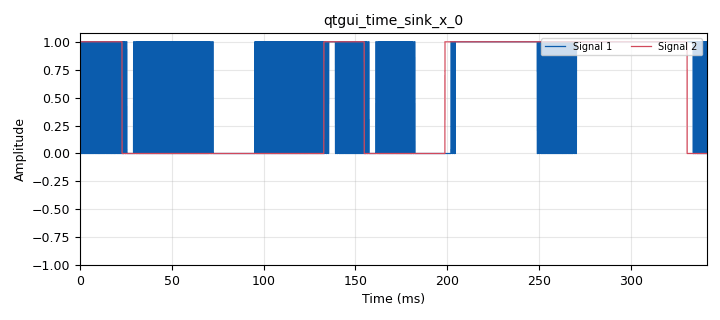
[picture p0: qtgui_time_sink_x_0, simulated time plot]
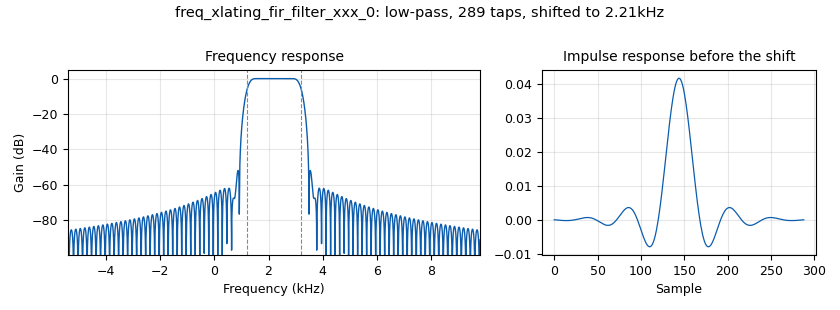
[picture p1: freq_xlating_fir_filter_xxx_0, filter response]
options:
  parameters:
    author: Barry Duggan
    description: FSK_example
    generate_options: qt_gui
    id: FSK_example
    output_language: python
    title: FSK_example
  states: {}

blocks:
- name: baud
  id: variable
  parameters:
    value: 1/0.022
  states: {}
- name: center
  id: variable
  parameters:
    value: '2210'
  states: {}
- name: delay
  id: variable_qtgui_range
  parameters:
    label: Delay
    start: '0'
    step: '1'
    stop: '250'
    value: '145'
  states: {}
- name: freq_offset
  id: variable_qtgui_range
  parameters:
    gui_hint: 3,1,1,1
    label: Freq_offset
    orient: QtCore.Qt.Vertical
    start: '-0.001'
    step: '0.00001'
    stop: '0.001'
    value: '0'
  states: {}
- name: fsk_deviation
  id: variable
  parameters:
    value: '170'
  states: {}
- name: inp_amp
  id: variable
  parameters:
    value: ((center+(fsk_deviation/2))/vco_max)-vco_offset
  states: {}
- name: noise
  id: variable_qtgui_range
  parameters:
    gui_hint: 3,0,1,1
    label: Noise
    start: '0'
    step: '0.005'
    stop: '1'
    value: '0'
  states: {}
- name: repeat
  id: variable
  parameters:
    value: (int)(samp_rate*0.022)
  states: {}
- name: samp_rate
  id: variable
  parameters:
    value: '48000'
  states: {}
- name: sps
  id: variable
  parameters:
    value: '11'
  states: {}
- name: sq_lvl
  id: variable_qtgui_range
  parameters:
    label: Squelch
    start: '-100'
    step: '5'
    stop: '10'
    value: '-50'
  states: {}
- name: vco_max
  id: variable
  parameters:
    value: '2500'
  states: {}
- name: vco_offset
  id: variable
  parameters:
    value: (center-(fsk_deviation/2))/vco_max
  states: {}
- name: analog_quadrature_demod_cf_1
  id: analog_quadrature_demod_cf
  parameters:
    gain: samp_rate/(2*math.pi*fsk_deviation)
  states: {}
- name: analog_random_source_x_0
  id: analog_random_source_x
  parameters:
    max: '256'
    min: '0'
    num_samps: '1024'
    repeat: 'True'
    type: byte
  states: {}
- name: analog_random_source_x_0_0
  id: analog_random_source_x
  parameters:
    max: '256'
    min: '0'
    num_samps: '1024'
    repeat: 'True'
    type: byte
  states: {}
- name: analog_simple_squelch_cc_0
  id: analog_simple_squelch_cc
  parameters:
    alpha: '1'
    threshold: sq_lvl
  states: {}
- name: blocks_add_const_vxx_0
  id: blocks_add_const_vxx
  parameters:
    comment: vco_offset
    const: vco_offset
    type: float
  states: {}
- name: blocks_add_const_vxx_0_0
  id: blocks_add_const_vxx
  parameters:
    comment: vco_offset
    const: vco_offset
    type: float
  states: {}
- name: blocks_add_xx_0
  id: blocks_add_xx
  parameters:
    type: complex
  states: {}
- name: blocks_complex_to_float_0
  id: blocks_complex_to_float
  parameters: {}
  states: {}
- name: blocks_delay_0
  id: blocks_delay
  parameters:
    delay: int(delay)
    type: complex
  states: {}
- name: blocks_float_to_complex_0
  id: blocks_float_to_complex
  parameters: {}
  states: {}
- name: blocks_float_to_complex_0_0
  id: blocks_float_to_complex
  parameters: {}
  states: {}
- name: blocks_max_xx_0
  id: blocks_max_xx
  parameters:
    num_inputs: '2'
    type: float
  states: {}
- name: blocks_multiply_const_vxx_0
  id: blocks_multiply_const_vxx
  parameters:
    comment: inp_amp
    const: inp_amp
    type: float
  states: {}
- name: blocks_multiply_const_vxx_0_0
  id: blocks_multiply_const_vxx
  parameters:
    comment: inp_amp
    const: inp_amp
    type: float
  states: {}
- name: blocks_null_source_0_0
  id: blocks_null_source
  parameters:
    type: float
  states: {}
- name: blocks_null_source_0_0_0
  id: blocks_null_source
  parameters:
    type: float
  states: {}
- name: blocks_repeat_0
  id: blocks_repeat
  parameters:
    interp: repeat
    type: byte
  states: {}
- name: blocks_repeat_0_0
  id: blocks_repeat
  parameters:
    interp: repeat
    type: byte
  states: {}
- name: blocks_uchar_to_float_0
  id: blocks_uchar_to_float
  parameters: {}
  states: {}
- name: blocks_uchar_to_float_0_0
  id: blocks_uchar_to_float
  parameters: {}
  states: {}
- name: blocks_uchar_to_float_0_1
  id: blocks_uchar_to_float
  parameters: {}
  states: {}
- name: blocks_unpack_k_bits_bb_0
  id: blocks_unpack_k_bits_bb
  parameters:
    k: '8'
  states: {}
- name: blocks_unpack_k_bits_bb_0_0
  id: blocks_unpack_k_bits_bb
  parameters:
    k: '8'
  states: {}
- name: blocks_vco_f_0
  id: blocks_vco_f
  parameters:
    amplitude: '0.5'
    samp_rate: samp_rate
    sensitivity: '15708'
  states: {}
- name: blocks_vco_f_0_0
  id: blocks_vco_f
  parameters:
    amplitude: '0.5'
    samp_rate: samp_rate
    sensitivity: '15708'
  states: {}
- name: channels_channel_model_0
  id: channels_channel_model
  parameters:
    epsilon: '1.0'
    freq_offset: freq_offset
    noise_voltage: noise
    seed: '0'
    taps: '1.0'
  states: {}
- name: channels_channel_model_0_0
  id: channels_channel_model
  parameters:
    epsilon: '1.0'
    freq_offset: '0'
    noise_voltage: '0'
    seed: '0'
    taps: '1.0'
  states: {}
- name: digital_binary_slicer_fb_0
  id: digital_binary_slicer_fb
  parameters: {}
  states: {}
- name: freq_xlating_fir_filter_xxx_0
  id: freq_xlating_fir_filter_xxx
  parameters:
    center_freq: center
    decim: '1'
    samp_rate: samp_rate
    taps: firdes.low_pass(1.0,samp_rate,1000,400)
    type: fcf
  states: {}
- name: qtgui_eye_sink_x_0
  id: qtgui_eye_sink_x
  parameters:
    samp_per_symbol: sps
    size: '1024'
    srate: '500'
    tr_mode: qtgui.TRIG_MODE_AUTO
    tr_tag: ''
    type: float
  states: {state: disabled}
- name: qtgui_time_sink_x_0
  id: qtgui_time_sink_x
  parameters:
    ctrlpanel: 'True'
    nconnections: '2'
    size: '16384'
    srate: samp_rate
    tr_level: '0.5'
    tr_mode: qtgui.TRIG_MODE_NORM
    tr_slope: qtgui.TRIG_SLOPE_NEG
    type: float
  states: {}
- name: rational_resampler_xxx_0_0
  id: rational_resampler_xxx
  parameters:
    comment: |-
      sample rate 500 ->
      11 samples per symbol
    decim: '96'
    interp: '1'
    taps: ''
    type: fff
  states: {state: disabled}
- name: virtual_sink_0
  id: virtual_sink
  parameters:
    stream_id: '"xmt_data"'
  states: {}
- name: virtual_sink_0_0
  id: virtual_sink
  parameters:
    stream_id: '"xmt_data_1"'
  states: {}
- name: virtual_sink_1
  id: virtual_sink
  parameters:
    stream_id: '"fsk_out"'
  states: {}
- name: virtual_sink_1_0
  id: virtual_sink
  parameters:
    stream_id: '"fsk_out_1"'
  states: {}
- name: virtual_sink_2
  id: virtual_sink
  parameters:
    stream_id: '"null"'
  states: {}
- name: virtual_source_0
  id: virtual_source
  parameters:
    stream_id: '"xmt_data"'
  states: {}
- name: virtual_source_0_0
  id: virtual_source
  parameters:
    stream_id: '"xmt_data"'
  states: {}
- name: virtual_source_0_0_0
  id: virtual_source
  parameters:
    stream_id: '"xmt_data"'
  states: {}
- name: virtual_source_0_1
  id: virtual_source
  parameters:
    stream_id: '"xmt_data_1"'
  states: {}
- name: virtual_source_1
  id: virtual_source
  parameters:
    stream_id: '"fsk_out"'
  states: {}
- name: virtual_source_1_0
  id: virtual_source
  parameters:
    stream_id: '"fsk_out_1"'
  states: {}

connections:
- [analog_quadrature_demod_cf_1, '0', digital_binary_slicer_fb_0, '0']
- [analog_quadrature_demod_cf_1, '0', rational_resampler_xxx_0_0, '0']
- [analog_random_source_x_0, '0', blocks_unpack_k_bits_bb_0, '0']
- [analog_random_source_x_0_0, '0', blocks_unpack_k_bits_bb_0_0, '0']
- [analog_simple_squelch_cc_0, '0', analog_quadrature_demod_cf_1, '0']
- [blocks_add_const_vxx_0, '0', blocks_vco_f_0, '0']
- [blocks_add_const_vxx_0_0, '0', blocks_vco_f_0_0, '0']
- [blocks_add_xx_0, '0', blocks_complex_to_float_0, '0']
- [blocks_complex_to_float_0, '0', freq_xlating_fir_filter_xxx_0, '0']
- [blocks_complex_to_float_0, '1', virtual_sink_2, '0']
- [blocks_delay_0, '0', blocks_add_xx_0, '1']
- [blocks_float_to_complex_0, '0', channels_channel_model_0, '0']
- [blocks_float_to_complex_0_0, '0', channels_channel_model_0_0, '0']
- [blocks_max_xx_0, '0', qtgui_time_sink_x_0, '1']
- [blocks_multiply_const_vxx_0, '0', blocks_add_const_vxx_0, '0']
- [blocks_multiply_const_vxx_0_0, '0', blocks_add_const_vxx_0_0, '0']
- [blocks_null_source_0_0, '0', blocks_float_to_complex_0, '1']
- [blocks_null_source_0_0_0, '0', blocks_float_to_complex_0_0, '1']
- [blocks_repeat_0, '0', blocks_uchar_to_float_0, '0']
- [blocks_repeat_0_0, '0', blocks_uchar_to_float_0_1, '0']
- [blocks_uchar_to_float_0, '0', virtual_sink_0, '0']
- [blocks_uchar_to_float_0_0, '0', qtgui_time_sink_x_0, '0']
- [blocks_uchar_to_float_0_1, '0', virtual_sink_0_0, '0']
- [blocks_unpack_k_bits_bb_0, '0', blocks_repeat_0, '0']
- [blocks_unpack_k_bits_bb_0_0, '0', blocks_repeat_0_0, '0']
- [blocks_vco_f_0, '0', virtual_sink_1, '0']
- [blocks_vco_f_0_0, '0', virtual_sink_1_0, '0']
- [channels_channel_model_0, '0', blocks_add_xx_0, '0']
- [channels_channel_model_0_0, '0', blocks_delay_0, '0']
- [digital_binary_slicer_fb_0, '0', blocks_uchar_to_float_0_0, '0']
- [freq_xlating_fir_filter_xxx_0, '0', analog_simple_squelch_cc_0, '0']
- [rational_resampler_xxx_0_0, '0', qtgui_eye_sink_x_0, '0']
- [virtual_source_0, '0', blocks_multiply_const_vxx_0, '0']
- [virtual_source_0_0, '0', blocks_max_xx_0, '0']
- [virtual_source_0_0_0, '0', blocks_max_xx_0, '1']
- [virtual_source_0_1, '0', blocks_multiply_const_vxx_0_0, '0']
- [virtual_source_1, '0', blocks_float_to_complex_0, '0']
- [virtual_source_1_0, '0', blocks_float_to_complex_0_0, '0']

metadata:
  file_format: 1
  grc_version: 3.10.9.2
